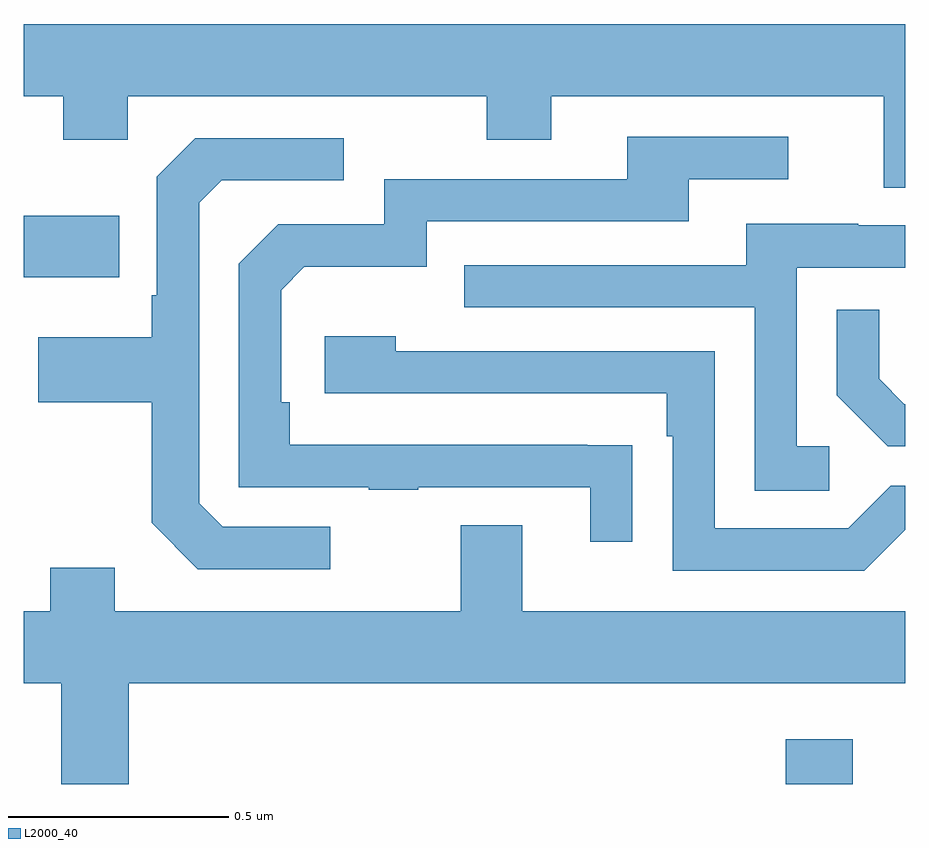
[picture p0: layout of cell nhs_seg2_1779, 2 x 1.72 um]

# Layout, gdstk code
import gdstk
lib = gdstk.Library(unit=1e-6, precision=1e-09)
def R(c, l, rs):  # rectangles x0, y0, x1, y1
    for r in rs: c.add(gdstk.rectangle(r[:2], r[2:], *l))
def P(c, l, *ps):  # polygons
    for p in ps: c.add(gdstk.Polygon(p, *l))
L2000_40 = (2000, 40)

nhs_seg2_1779 = lib.new_cell('nhs_seg2_1779')
R(nhs_seg2_1779, L2000_40, [(134.729,588.8,134.881,588.901), (133,589.949,133.217,590.089)])
P(nhs_seg2_1779, L2000_40, [(135,590.524),(133,590.524),(133,590.36),(133.09,590.36),(133.09,590.261),(133.236,590.261),(133.236,590.36),(134.05,590.36),(134.05,590.261),(134.197,590.261),(134.197,590.36),(134.951,590.36),(134.951,590.152),(135,590.152)],
  [(134.381,589.568),(134.279,589.568),(134.279,589.569),(133.604,589.569),(133.604,589.666),(133.584,589.666),(133.584,589.92),(133.637,589.973),(133.914,589.973),(133.914,590.076),(134.509,590.076),(134.509,590.172),(134.734,590.172),(134.734,590.268),(134.369,590.268),(134.369,590.172),(133.818,590.172),(133.818,590.07),(133.578,590.07),(133.488,589.98),(133.488,589.473),(133.783,589.473),(133.783,589.468),(133.895,589.468),(133.895,589.473),(134.285,589.473),(134.285,589.35),(134.381,589.35)],
  [(133.696,589.383),(133.452,589.383),(133.398,589.437),(133.398,590.118),(133.449,590.169),(133.726,590.169),(133.726,590.265),(133.389,590.265),(133.302,590.178),(133.302,589.909),(133.29,589.909),(133.29,589.813),(133.033,589.813),(133.033,589.666),(133.29,589.666),(133.29,589.393),(133.395,589.287),(133.696,589.287)],
  [(134.827,589.566),(134.754,589.566),(134.754,589.971),(135,589.971),(135,590.067),(134.893,590.067),(134.893,590.071),(134.639,590.071),(134.639,589.977),(133.999,589.977),(133.999,589.881),(134.658,589.881),(134.658,589.465),(134.827,589.465)],
  [(135,589.662),(134.998,589.662),(134.941,589.719),(134.941,589.876),(134.844,589.876),(134.844,589.682),(134.96,589.566),(135,589.566)],
  [(135,589.377),(135,589.476),(134.967,589.476),(134.871,589.38),(134.568,589.38),(134.568,589.782),(133.844,589.782),(133.844,589.816),(133.683,589.816),(133.683,589.686),(134.459,589.686),(134.459,589.589),(134.472,589.589),(134.472,589.284),(134.907,589.284)],
  [(133.238,589.028),(135,589.028),(135,589.192),(134.131,589.192),(134.131,589.387),(133.991,589.387),(133.991,589.192),(133.207,589.192),(133.207,589.291),(133.06,589.291),(133.06,589.192),(133,589.192),(133,589.028),(133.085,589.028),(133.085,588.8),(133.238,588.8)])

lib.write_gds('nhs_seg2_1779.gds')
